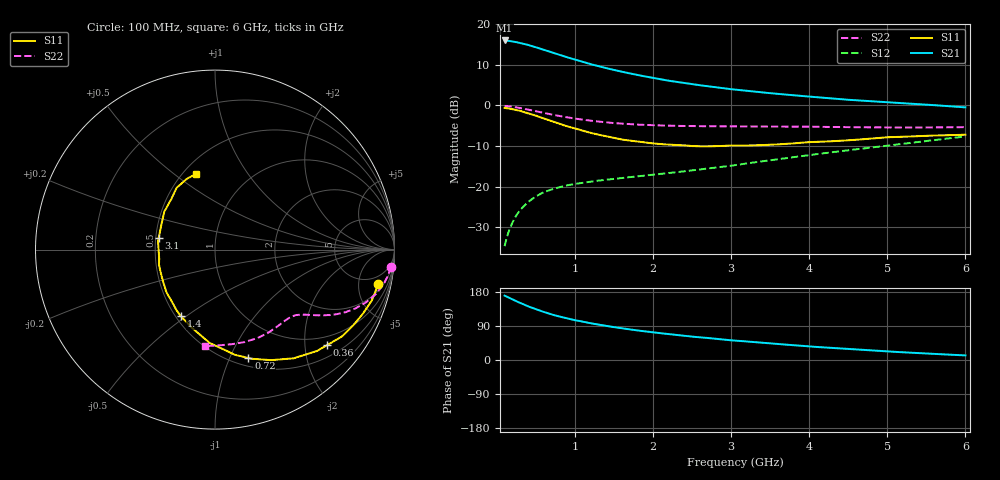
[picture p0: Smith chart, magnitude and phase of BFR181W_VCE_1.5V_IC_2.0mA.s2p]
! Infineon Technologies  Discrete & RF Semiconductors
! BFR181W
! VCE =  1.5 V,  IC =  2.0 mA
! Common Emitter S-Parameters:  Nov 2015
# GHz  S  MA  R  50
!  f  S11  S21  S12  S22
! GHz  MAG  ANG  MAG  ANG  MAG  ANG  MAG  ANG
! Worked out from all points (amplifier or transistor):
!   192 points, 100 MHz to 6 GHz, reference 50 ohm
!   highest |S21| = 16.0 dB at 100 MHz (marker M1)
!   |S21| within 3 dB of that: start of sweep to 718 MHz
!   unconditionally stable (mu >= 1): 1.98 GHz to 3.613 GHz
!   at 440 MHz: K = 0.30, MSG = 18.9 dB, |S12| = -23.2 dB
!   at 1.7 GHz: K = 0.92, MSG = 12.8 dB, |S12| = -17.7 dB
!   at 6 GHz: K = 0.80, MSG = 3.6 dB, |S12| = -7.7 dB
!   S11 on the Smith chart (normalised r, x): 100 MHz: 3.01, -8.55; 360 MHz: 0.77, -2.50; 720 MHz: 0.58, -1.18; 1.4 GHz: 0.53, -0.48; 3.1 GHz: 0.52, +0.07; 6 GHz: 0.58, +0.61
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0.1  0.9301 -11.9  6.296 169.9  0.0185 82.7  0.9859 -5.6
0.155  0.9161 -18.4  6.22 164.2  0.0284 78.9  0.9746 -8.5
0.24  0.8803 -28.0  6.029 156.1  0.0426 73.6  0.9495 -12.8
0.3  0.8563 -34.5  5.856 150.6  0.0516 70.5  0.9291 -15.5
0.36  0.8201 -40.5  5.655 145.3  0.0593 67.0  0.9044 -17.9
0.4  0.8013 -44.8  5.549 141.6  0.0646 65.2  0.8888 -19.5
0.5  0.7478 -54.1  5.194 133.9  0.0757 60.9  0.8474 -22.8
0.6  0.6906 -63.1  4.853 126.9  0.0853 57.4  0.8085 -25.5
0.72  0.632 -72.9  4.451 119.2  0.0934 54.2  0.7658 -28.0
0.8  0.5971 -79.2  4.214 114.7  0.0983 52.5  0.7402 -29.5
0.9  0.5523 -86.1  3.911 109.7  0.1037 50.9  0.7123 -30.9
1  0.5224 -93.0  3.669 105.1  0.108 49.5  0.6875 -32.2
1.1  0.4882 -98.7  3.435 101.3  0.1117 48.7  0.6672 -33.2
1.2  0.4596 -105.2  3.218 96.9  0.1155 48.0  0.6471 -34.3
1.4  0.4173 -117.1  2.877 89.9  0.1216 47.6  0.6178 -35.9
1.68  0.371 -132.1  2.502 81.4  0.1301 48.4  0.5899 -38.0
2.08  0.335 -151.3  2.109 71.1  0.1425 50.5  0.5666 -41.3
2.5  0.3157 -169.3  1.82 61.6  0.1582 53.2  0.5562 -45.1
3.1  0.3205 168.7  1.547 50.5  0.1869 56.7  0.5508 -51.9
4.1  0.3555 140.6  1.26 34.4  0.2512 58.7  0.5447 -65.8
5.1  0.4079 119.8  1.08 21.5  0.329 56.7  0.5343 -81.5
6  0.4357 103.7  0.945 12.1  0.4143 52.6  0.5405 -95.7
